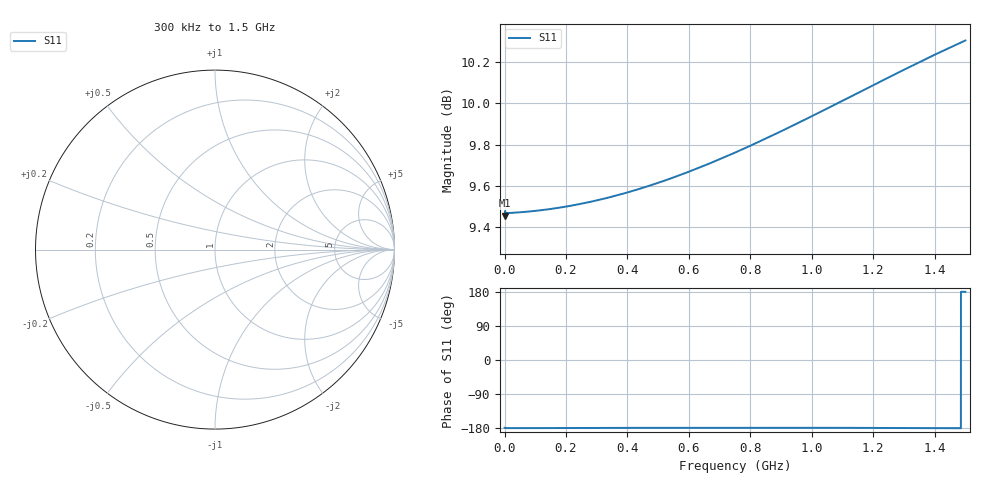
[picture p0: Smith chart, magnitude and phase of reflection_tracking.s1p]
! Created with skrf 1.8.0 (http://scikit-rf.org).
# Hz S RI R 50.0
!freq ReS11 ImS11
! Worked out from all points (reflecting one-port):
!   5000 points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, 300 kHz to 1.5 GHz, reference 50 ohm
!   lowest |S11| = 9.5 dB at 900 kHz (marker M1)
!   phase of S11 starts at -179 deg and turns -1 deg over the sweep
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300000  -2.972 -0.0541
900000  -2.969 -0.0567
9000000  -2.974 -0.0189
1.08e7  -2.974 -0.0175
1.35e7  -2.974 -0.016
1.71e7  -2.974 -0.0148
2.73e7  -2.975 -0.0133
4.62e7  -2.975 -0.0132
7.53e7  -2.976 -0.015
1.314e8  -2.98 -0.0204
1.878e8  -2.984 -0.0263
2.808e8  -2.993 -0.0361
3.753e8  -3.005 -0.0454
4.677e8  -3.019 -0.0533
5.628e8  -3.036 -0.0599
6.582e8  -3.055 -0.0648
7.503e8  -3.076 -0.0675
8.454e8  -3.099 -0.0681
9.378e8  -3.122 -0.0662
1.0296e9  -3.147 -0.0618
1.0776e9  -3.16 -0.0584
1.1253e9  -3.173 -0.0544
1.1736e9  -3.187 -0.0495
1.2198e9  -3.2 -0.0442
1.3128e9  -3.226 -0.0313
1.3971e9  -3.249 -0.0172
1.4811e9  -3.271 -0.000878
1.5e9  -3.276 0.00309
